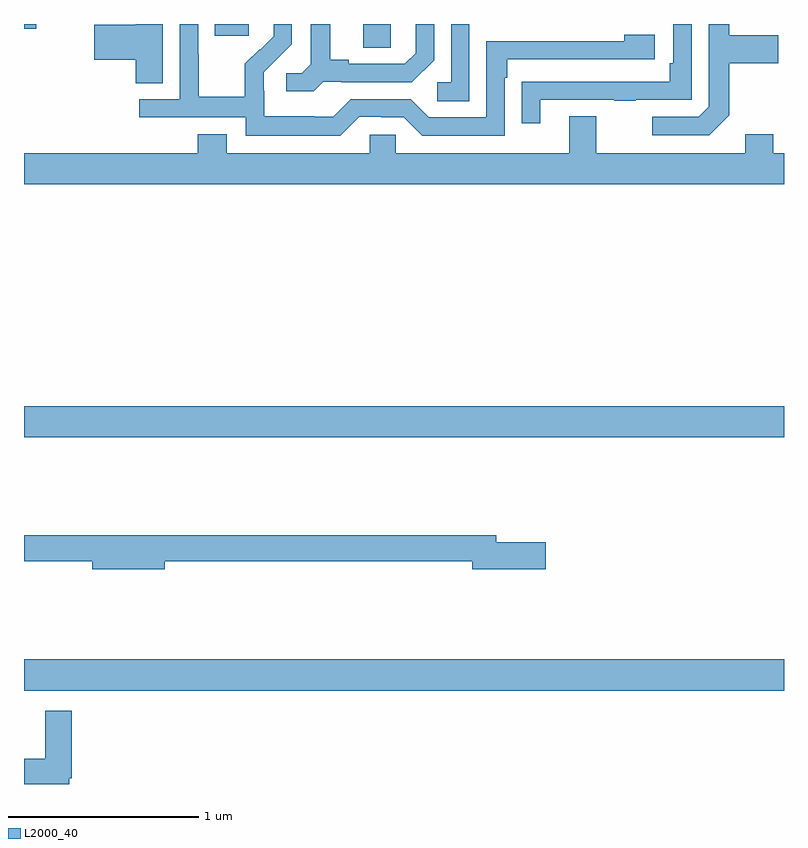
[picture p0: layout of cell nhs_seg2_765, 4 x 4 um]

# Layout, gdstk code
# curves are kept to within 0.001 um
import gdstk
lib = gdstk.Library(unit=1e-6, precision=1e-09)
def R(c, l, rs):  # rectangles x0, y0, x1, y1
    for r in rs: c.add(gdstk.rectangle(r[:2], r[2:], *l))
def P(c, l, *ps):  # polygons
    for p in ps: c.add(gdstk.Polygon(p, *l))
L2000_40 = (2000, 40)

nhs_seg2_765 = lib.new_cell('nhs_seg2_765')
R(nhs_seg2_765, L2000_40, [(149,658.292,153,658.456), (149,659.624,153,659.788), (150.785,661.675,150.93,661.8), (150.005,661.737,150.184,661.8), (149,661.775,149.065,661.8)])
P(nhs_seg2_765, L2000_40, [(150.765,661.311),(150.881,661.311),(150.881,661.308),(150.999,661.308),(151.095,661.212),(151.53,661.212),(151.53,661.517),(151.543,661.517),(151.543,661.614),(152.32,661.614),(152.32,661.744),(152.159,661.744),(152.159,661.71),(151.434,661.71),(151.434,661.308),(151.131,661.308),(151.035,661.404),(150.72,661.404),(150.627,661.311),(150.527,661.311),(150.527,661.315),(150.264,661.315),(150.264,661.449),(150.262,661.449),(150.262,661.546),(150.408,661.694),(150.408,661.8),(150.314,661.8),(150.314,661.736),(150.243,661.665),(150.24,661.668),(150.163,661.591),(150.163,661.417),(149.919,661.417),(149.919,661.64),(149.916,661.64),(149.916,661.8),(149.82,661.8),(149.82,661.404),(149.607,661.404),(149.607,661.308),(150.168,661.308),(150.168,661.211),(150.665,661.211)],
  [(151.717,661.401),(152.107,661.401),(152.107,661.396),(152.219,661.396),(152.219,661.401),(152.514,661.401),(152.514,661.8),(152.418,661.8),(152.418,661.594),(152.398,661.594),(152.398,661.497),(151.723,661.497),(151.723,661.496),(151.621,661.496),(151.621,661.278),(151.717,661.278)],
  [(151.344,661.8),(151.248,661.8),(151.248,661.494),(151.176,661.494),(151.176,661.393),(151.344,661.393)],
  [(149.731,661.8),(149.588,661.8),(149.588,661.796),(149.37,661.796),(149.37,661.613),(149.588,661.613),(149.588,661.489),(149.731,661.489)],
  [(150.576,661.497),(150.67,661.497),(150.67,661.494),(151.042,661.494),(151.158,661.61),(151.158,661.8),(151.061,661.8),(151.061,661.647),(151.004,661.59),(150.709,661.59),(150.709,661.613),(150.613,661.613),(150.613,661.8),(150.509,661.8),(150.509,661.589),(150.462,661.542),(150.381,661.542),(150.381,661.445),(150.524,661.445)],
  [(152.713,661.321),(152.713,661.594),(152.969,661.594),(152.969,661.741),(152.713,661.741),(152.713,661.8),(152.604,661.8),(152.604,661.365),(152.55,661.311),(152.307,661.311),(152.307,661.215),(152.607,661.215)],
  [(153,661.12),(152.943,661.12),(152.943,661.219),(152.795,661.219),(152.795,661.12),(152.011,661.12),(152.011,661.315),(151.871,661.315),(151.871,661.12),(150.957,661.12),(150.957,661.218),(150.819,661.218),(150.819,661.12),(150.067,661.12),(150.067,661.219),(149.915,661.219),(149.915,661.12),(149,661.12),(149,660.956),(153,660.956)],
  [(149.74,658.972),(151.358,658.972),(151.358,658.93),(151.747,658.93),(151.747,659.072),(151.486,659.072),(151.486,659.108),(149,659.108),(149,658.972),(149.36,658.972),(149.36,658.93),(149.74,658.93)],
  [(149.239,657.83),(149.252,657.83),(149.252,658.186),(149.111,658.186),(149.111,657.934),(149,657.934),(149,657.8),(149.239,657.8)])

lib.write_gds('nhs_seg2_765.gds')
